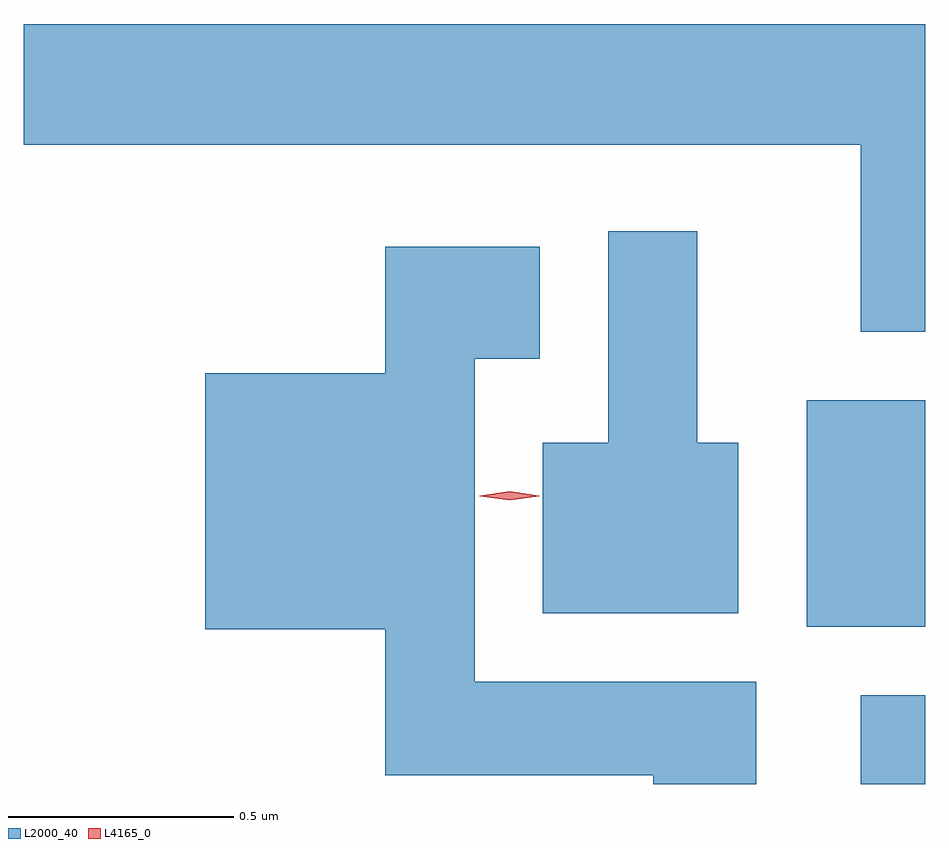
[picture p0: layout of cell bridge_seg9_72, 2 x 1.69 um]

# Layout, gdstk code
import gdstk
lib = gdstk.Library(unit=1e-6, precision=1e-09)
def R(c, l, rs):  # rectangles x0, y0, x1, y1
    for r in rs: c.add(gdstk.rectangle(r[:2], r[2:], *l))
def P(c, l, *ps):  # polygons
    for p in ps: c.add(gdstk.Polygon(p, *l))
L2000_40 = (2000, 40)
L4165_0 = (4165, 0)

bridge_seg9_72 = lib.new_cell('bridge_seg9_72')
R(bridge_seg9_72, L2000_40, [(1529.481,1972.637,1529.624,1972.834), (1529.361,1972.986,1529.624,1973.489)])
P(bridge_seg9_72, L2000_40, [(1529.624,1974.324),(1527.624,1974.324),(1527.624,1974.056),(1529.481,1974.056),(1529.481,1973.641),(1529.624,1973.641)],
  [(1529.209,1973.394),(1529.119,1973.394),(1529.119,1973.864),(1528.921,1973.864),(1528.921,1973.394),(1528.776,1973.394),(1528.776,1973.016),(1529.209,1973.016)],
  [(1529.249,1972.864),(1528.624,1972.864),(1528.624,1973.581),(1528.769,1973.581),(1528.769,1973.829),(1528.426,1973.829),(1528.426,1973.549),(1528.026,1973.549),(1528.026,1972.981),(1528.426,1972.981),(1528.426,1972.656),(1529.021,1972.656),(1529.021,1972.637),(1529.249,1972.637)])
P(bridge_seg9_72, L4165_0, [(1528.702,1973.267),(1528.636,1973.276),(1528.636,1973.277),(1528.636,1973.277),(1528.702,1973.287),(1528.768,1973.277),(1528.768,1973.277),(1528.768,1973.276)])

lib.write_gds('bridge_seg9_72.gds')
